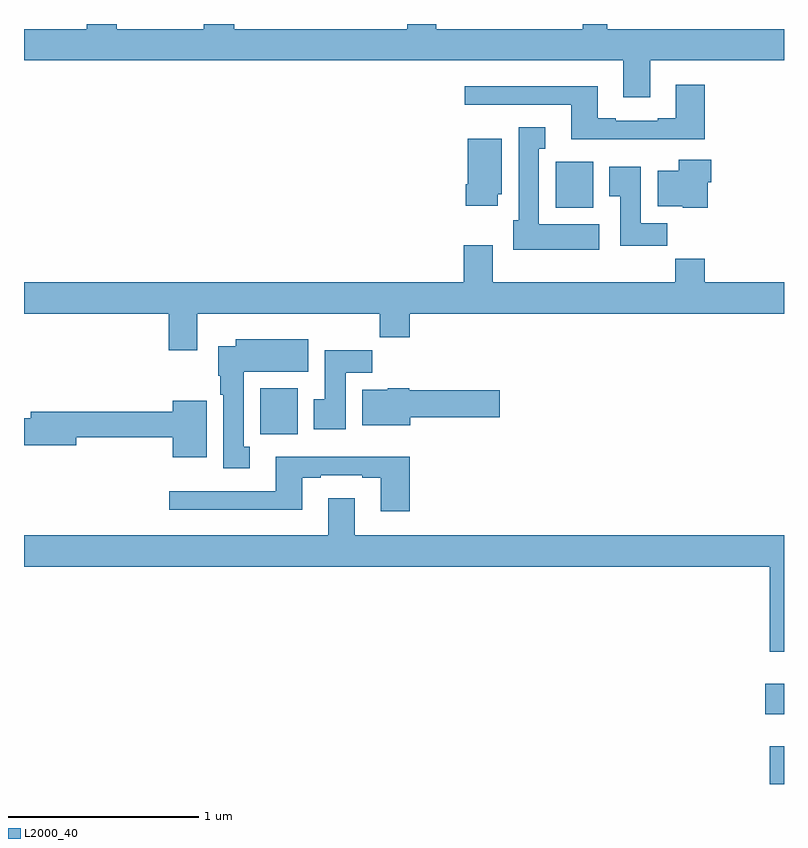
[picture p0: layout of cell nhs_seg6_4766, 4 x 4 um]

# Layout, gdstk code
import gdstk
lib = gdstk.Library(unit=1e-6, precision=1e-09)
def R(c, l, rs):  # rectangles x0, y0, x1, y1
    for r in rs: c.add(gdstk.rectangle(r[:2], r[2:], *l))
def P(c, l, *ps):  # polygons
    for p in ps: c.add(gdstk.Polygon(p, *l))
L2000_40 = (2000, 40)

nhs_seg6_4766 = lib.new_cell('nhs_seg6_4766')
R(nhs_seg6_4766, L2000_40, [(396.924,971.5,397,971.698), (396.9,971.867,397,972.028), (394.244,973.34,394.441,973.582), (395.798,974.534,395.995,974.776)])
P(nhs_seg6_4766, L2000_40, [(396.295,975.308),(397,975.308),(397,975.472),(396.071,975.472),(396.071,975.5),(395.942,975.5),(395.942,975.472),(395.17,975.472),(395.17,975.5),(395.018,975.5),(395.018,975.472),(394.106,975.472),(394.106,975.5),(393.946,975.5),(393.946,975.472),(393.489,975.472),(393.489,975.5),(393.329,975.5),(393.329,975.472),(393,975.472),(393,975.308),(396.155,975.308),(396.155,975.114),(396.295,975.114)],
  [(396.584,975.181),(396.431,975.181),(396.431,975.004),(396.335,975.004),(396.335,974.991),(396.115,974.991),(396.115,975.004),(396.019,975.004),(396.019,975.172),(395.319,975.172),(395.319,975.075),(395.879,975.075),(395.879,974.894),(396.584,974.894)],
  [(396.028,974.446),(395.71,974.446),(395.71,974.843),(395.743,974.843),(395.743,974.956),(395.603,974.956),(395.603,974.466),(395.576,974.466),(395.576,974.312),(396.028,974.312)],
  [(395.494,974.604),(395.515,974.604),(395.515,974.896),(395.336,974.896),(395.336,974.656),(395.324,974.656),(395.324,974.544),(395.494,974.544)],
  [(396.599,974.667),(396.617,974.667),(396.617,974.785),(396.446,974.785),(396.446,974.728),(396.335,974.728),(396.335,974.54),(396.468,974.54),(396.468,974.534),(396.599,974.534)],
  [(396.386,974.452),(396.247,974.452),(396.247,974.749),(396.08,974.749),(396.08,974.593),(396.137,974.593),(396.137,974.334),(396.386,974.334)],
  [(393.913,973.976),(394.873,973.976),(394.873,973.852),(395.03,973.852),(395.03,973.976),(397,973.976),(397,974.14),(396.584,974.14),(396.584,974.264),(396.427,974.264),(396.427,974.14),(395.467,974.14),(395.467,974.335),(395.315,974.335),(395.315,974.14),(393,974.14),(393,973.976),(393.761,973.976),(393.761,973.782),(393.913,973.782)],
  [(394.189,973.274),(394.156,973.274),(394.156,973.67),(394.495,973.67),(394.495,973.84),(394.115,973.84),(394.115,973.804),(394.022,973.804),(394.022,973.65),(394.034,973.65),(394.034,973.55),(394.049,973.55),(394.049,973.161),(394.189,973.161)],
  [(394.693,973.664),(394.832,973.664),(394.832,973.782),(394.583,973.782),(394.583,973.524),(394.526,973.524),(394.526,973.368),(394.693,973.368)],
  [(395.032,973.43),(395.503,973.43),(395.503,973.572),(395.028,973.572),(395.028,973.582),(394.914,973.582),(394.914,973.576),(394.781,973.576),(394.781,973.388),(395.032,973.388)],
  [(393.961,973.516),(393.782,973.516),(393.782,973.46),(393.035,973.46),(393.035,973.424),(393,973.424),(393,973.282),(393.274,973.282),(393.274,973.324),(393.782,973.324),(393.782,973.22),(393.961,973.22)],
  [(395.03,973.222),(394.325,973.222),(394.325,973.041),(393.765,973.041),(393.765,972.944),(394.465,972.944),(394.465,973.113),(394.561,973.113),(394.561,973.125),(394.781,973.125),(394.781,973.113),(394.877,973.113),(394.877,972.936),(395.03,972.936)],
  [(397,972.808),(394.741,972.808),(394.741,973.003),(394.601,973.003),(394.601,972.808),(393,972.808),(393,972.644),(396.924,972.644),(396.924,972.195),(397,972.195)])

lib.write_gds('nhs_seg6_4766.gds')
